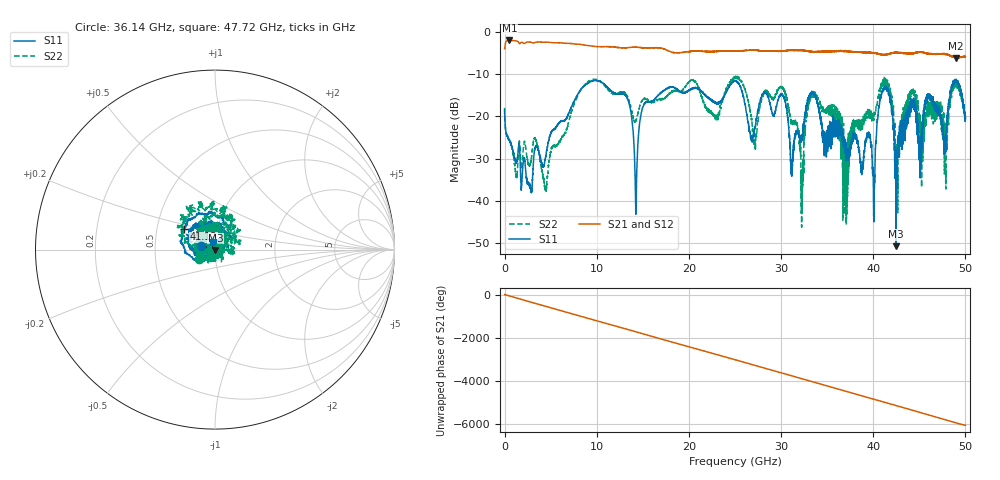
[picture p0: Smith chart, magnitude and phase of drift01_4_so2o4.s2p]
!Created with skrf (http://scikit-rf.org).
# Hz S RI R 50.0
!freq ReS11 ImS11 ReS21 ImS21 ReS12 ImS12 ReS22 ImS22
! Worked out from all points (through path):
!   10001 points, 300 kHz to 50 GHz, reference 50 ohm
!   highest |S21| = -2.00 dB at 520.3 MHz (marker M1); lowest = -6.1 dB at 48.98 GHz (marker M2)
!   group delay of S21, straight-line fit = 336 ps
!   lowest |S11| = -50.8 dB at 42.46 GHz (marker M3), VSWR 1.01, Z = 50.2 - j0.168 ohm
!   |S11| at or under -10 dB: start of sweep to end of sweep
!   |S22| runs from -46.3 to -10.5 dB; largest |S21 - S12| = 0.017
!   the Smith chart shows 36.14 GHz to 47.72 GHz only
!   S11 on the Smith chart (normalised r, x): 36.14 GHz: 0.85, +0.04; 41.12 GHz: 0.69, +0.16; 47.72 GHz: 0.98, +0.08
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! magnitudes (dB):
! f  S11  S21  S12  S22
! 300 kHz  -18.5  -4.0  -4.0  -18.0
! 520.3 MHz  -25.7  -2.0  -2.0  -25.6
! 4.425 GHz  -29.8  -2.4  -2.4  -37.2
! 8.335 GHz  -13.4  -3.0  -3.0  -13.5
! 13.16 GHz  -15.1  -3.7  -3.8  -14.6
! 14.25 GHz  -42.4  -3.6  -3.6  -21.1
! 16.67 GHz  -14.9  -3.7  -3.7  -15.9
! 25 GHz  -11.6  -4.5  -4.6  -10.9
! 27.14 GHz  -22.6  -4.3  -4.3  -25.9
! 30.2 GHz  -15.1  -4.5  -4.5  -13.3
! 32.23 GHz  -24.6  -4.3  -4.4  -37.0
! 33.34 GHz  -14.3  -4.7  -4.6  -14.6
! 36.14 GHz  -21.6  -4.5  -4.5  -19.7
! 37.03 GHz  -26.8  -4.5  -4.6  -29.8
! 40.03 GHz  -39.0  -5.0  -5.0  -20.9
! 41.12 GHz  -13.7  -5.4  -5.4  -12.5
! 41.67 GHz  -14.4  -5.2  -5.2  -12.9
! 42.46 GHz  -50.8  -4.8  -4.9  -37.0
! 44.2 GHz  -16.5  -5.1  -5.1  -13.8
! 47.72 GHz  -27.7  -5.2  -5.3  -31.2
! 48.98 GHz  -11.4  -6.1  -6.1  -12.8
! 50 GHz  -20.2  -5.9  -5.9  -19.8
